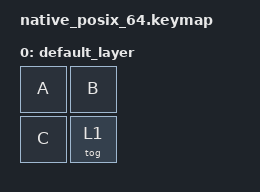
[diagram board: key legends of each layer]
#include <dt-bindings/zmk/keys.h>
#include <behaviors.dtsi>
#include <dt-bindings/zmk/kscan_mock.h>

/* it is useful to set timeout to a large value when attaching a debugger. */
#define TIMEOUT (60*60*1000)

/ {
    combos {
        compatible = "zmk,combos";
        combo_one {
            timeout-ms = <TIMEOUT>;
            key-positions = <0 1>;
            bindings = <&kp X>;
            layers = <1>;
        };
    };

    keymap {
        compatible = "zmk,keymap";
        label ="Default keymap";

        default_layer {
            bindings = <
                &kp A &kp B
                &kp C &tog 1
            >;
        };
    };
};

&kscan {
    events = <
        /* Combo One */
        ZMK_MOCK_PRESS(0,0,10)
        ZMK_MOCK_PRESS(0,1,10)
        ZMK_MOCK_RELEASE(0,0,10)
        ZMK_MOCK_RELEASE(0,1,10)
    >;
};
